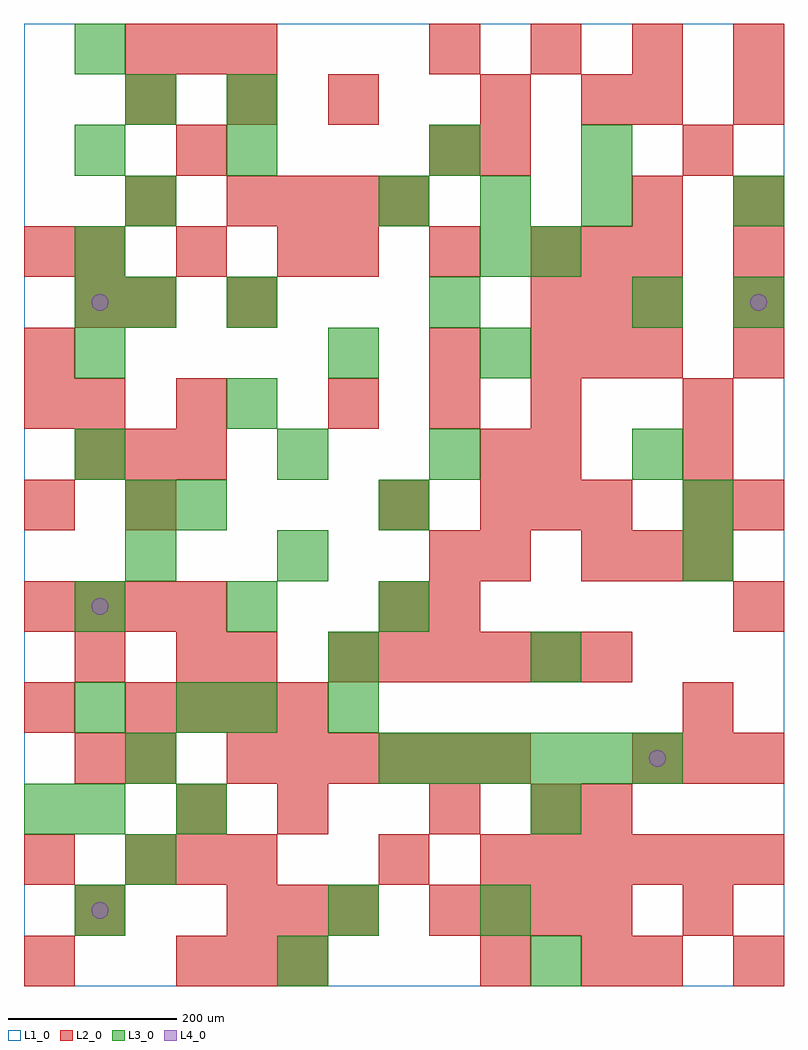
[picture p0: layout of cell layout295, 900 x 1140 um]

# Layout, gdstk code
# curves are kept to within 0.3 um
import gdstk
lib = gdstk.Library(unit=1e-6, precision=1e-09)
def R(c, l, rs):  # rectangles x0, y0, x1, y1
    for r in rs: c.add(gdstk.rectangle(r[:2], r[2:], *l))
def A(c, l, x, y, w, h, nx, ny, dx, dy):  # array of equal rectangles
    R(c, l, [(x+i*dx, y+j*dy, x+i*dx+w, y+j*dy+h) for i in range(nx) for j in range(ny)])
def P(c, l, *ps):  # polygons
    for p in ps: c.add(gdstk.Polygon(p, *l))
L1_0 = (1, 0)
L2_0 = (2, 0)
L3_0 = (3, 0)
L4_0 = (4, 0)

layout295 = lib.new_cell('layout295')
R(layout295, L1_0, [(0,0,900,1140)])
A(layout295, L2_0, 180, 0, 60, 60, 3, 1, 60, 0)
A(layout295, L2_0, 240, 60, 60, 60, 3, 1, 60, 0)
A(layout295, L2_0, 480, 60, 60, 60, 4, 1, 60, 0)
A(layout295, L2_0, 780, 60, 60, 60, 1, 3, 0, 240)
A(layout295, L2_0, 120, 120, 60, 60, 3, 2, 60, 960)
A(layout295, L2_0, 540, 120, 60, 60, 6, 1, 60, 0)
A(layout295, L2_0, 240, 240, 60, 60, 6, 1, 60, 0)
A(layout295, L2_0, 720, 240, 60, 60, 3, 1, 60, 0)
A(layout295, L2_0, 120, 300, 60, 60, 4, 1, 60, 0)
A(layout295, L2_0, 180, 360, 60, 60, 1, 3, 0, 300)
A(layout295, L2_0, 360, 360, 60, 60, 6, 1, 60, 0)
A(layout295, L2_0, 0, 420, 60, 60, 4, 1, 60, 0)
A(layout295, L2_0, 480, 480, 60, 60, 1, 3, 0, 240)
A(layout295, L2_0, 660, 480, 60, 60, 3, 1, 60, 0)
A(layout295, L2_0, 540, 540, 60, 60, 3, 1, 60, 0)
A(layout295, L2_0, 60, 600, 60, 60, 3, 1, 60, 0)
A(layout295, L2_0, 360, 660, 60, 60, 3, 2, 120, 180)
A(layout295, L2_0, 600, 720, 60, 60, 3, 2, 60, 60)
A(layout295, L2_0, 840, 720, 60, 60, 1, 4, 0, 60)
A(layout295, L2_0, 60, 840, 60, 60, 3, 1, 120, 0)
A(layout295, L2_0, 240, 900, 60, 60, 4, 1, 60, 0)
A(layout295, L2_0, 120, 1020, 60, 60, 3, 1, 120, 0)
A(layout295, L2_0, 480, 1080, 60, 60, 4, 1, 120, 0)
R(layout295, L2_0, [(0,0,60,60), (540,0,600,60), (660,0,720,60), (720,0,780,60), (840,0,900,60), (60,60,120,120), (0,120,60,180), (420,120,480,180), (180,180,240,240), (300,180,360,240), (480,180,540,240), (600,180,660,240), (660,180,720,240), (60,240,120,300), (120,240,180,300), (0,300,60,360), (60,360,120,420), (240,360,300,420), (420,420,480,480), (480,420,540,480), (840,420,900,480), (540,480,600,540), (0,540,60,600), (120,540,180,600), (420,540,480,600), (840,540,900,600), (540,600,600,660), (600,600,660,660), (780,600,840,660), (0,660,60,720), (60,660,120,720), (780,660,840,720), (0,720,60,780), (60,780,120,840), (120,780,180,840), (240,780,300,840), (0,840,60,900), (660,840,720,900), (720,840,780,900), (120,900,180,960), (720,900,780,960), (540,960,600,1020), (780,960,840,1020), (540,1020,600,1080), (660,1020,720,1080), (720,1020,780,1080), (840,1020,900,1080)])
A(layout295, L3_0, 600, 0, 60, 60, 1, 3, 0, 180)
A(layout295, L3_0, 60, 60, 60, 60, 1, 3, 0, 120)
A(layout295, L3_0, 420, 240, 60, 60, 6, 1, 60, 0)
A(layout295, L3_0, 60, 420, 60, 60, 3, 1, 180, 0)
A(layout295, L3_0, 60, 720, 60, 60, 1, 3, 0, 60)
A(layout295, L3_0, 120, 780, 60, 60, 1, 3, 0, 120)
A(layout295, L3_0, 240, 780, 60, 60, 3, 1, 240, 0)
A(layout295, L3_0, 420, 900, 60, 60, 3, 1, 120, 0)
R(layout295, L3_0, [(300,0,360,60), (360,60,420,120), (540,60,600,120), (120,120,180,180), (0,180,60,240), (180,180,240,240), (120,240,180,300), (180,300,240,360), (240,300,300,360), (360,300,420,360), (360,360,420,420), (120,480,180,540), (300,480,360,540), (780,480,840,540), (120,540,180,600), (180,540,240,600), (420,540,480,600), (780,540,840,600), (60,600,120,660), (300,600,360,660), (480,600,540,660), (720,600,780,660), (240,660,300,720), (360,720,420,780), (540,720,600,780), (840,780,900,840), (540,840,600,900), (600,840,660,900), (840,900,900,960), (60,960,120,1020), (240,960,300,1020), (480,960,540,1020), (660,960,720,1020), (240,1020,300,1080), (60,1080,120,1140)])
P(layout295, L4_0, [(100,90),(99.239,93.827),(97.071,97.071),(93.827,99.239),(90,100),(86.173,99.239),(82.929,97.071),(80.761,93.827),(80,90),(80.761,86.173),(82.929,82.929),(86.173,80.761),(90,80),(93.827,80.761),(97.071,82.929),(99.239,86.173)],
  [(100,450),(99.239,453.827),(97.071,457.071),(93.827,459.239),(90,460),(86.173,459.239),(82.929,457.071),(80.761,453.827),(80,450),(80.761,446.173),(82.929,442.929),(86.173,440.761),(90,440),(93.827,440.761),(97.071,442.929),(99.239,446.173)],
  [(100,810),(99.239,813.827),(97.071,817.071),(93.827,819.239),(90,820),(86.173,819.239),(82.929,817.071),(80.761,813.827),(80,810),(80.761,806.173),(82.929,802.929),(86.173,800.761),(90,800),(93.827,800.761),(97.071,802.929),(99.239,806.173)],
  [(760,270),(759.239,273.827),(757.071,277.071),(753.827,279.239),(750,280),(746.173,279.239),(742.929,277.071),(740.761,273.827),(740,270),(740.761,266.173),(742.929,262.929),(746.173,260.761),(750,260),(753.827,260.761),(757.071,262.929),(759.239,266.173)],
  [(880,810),(879.239,813.827),(877.071,817.071),(873.827,819.239),(870,820),(866.173,819.239),(862.929,817.071),(860.761,813.827),(860,810),(860.761,806.173),(862.929,802.929),(866.173,800.761),(870,800),(873.827,800.761),(877.071,802.929),(879.239,806.173)])

lib.write_gds('layout295.gds')
